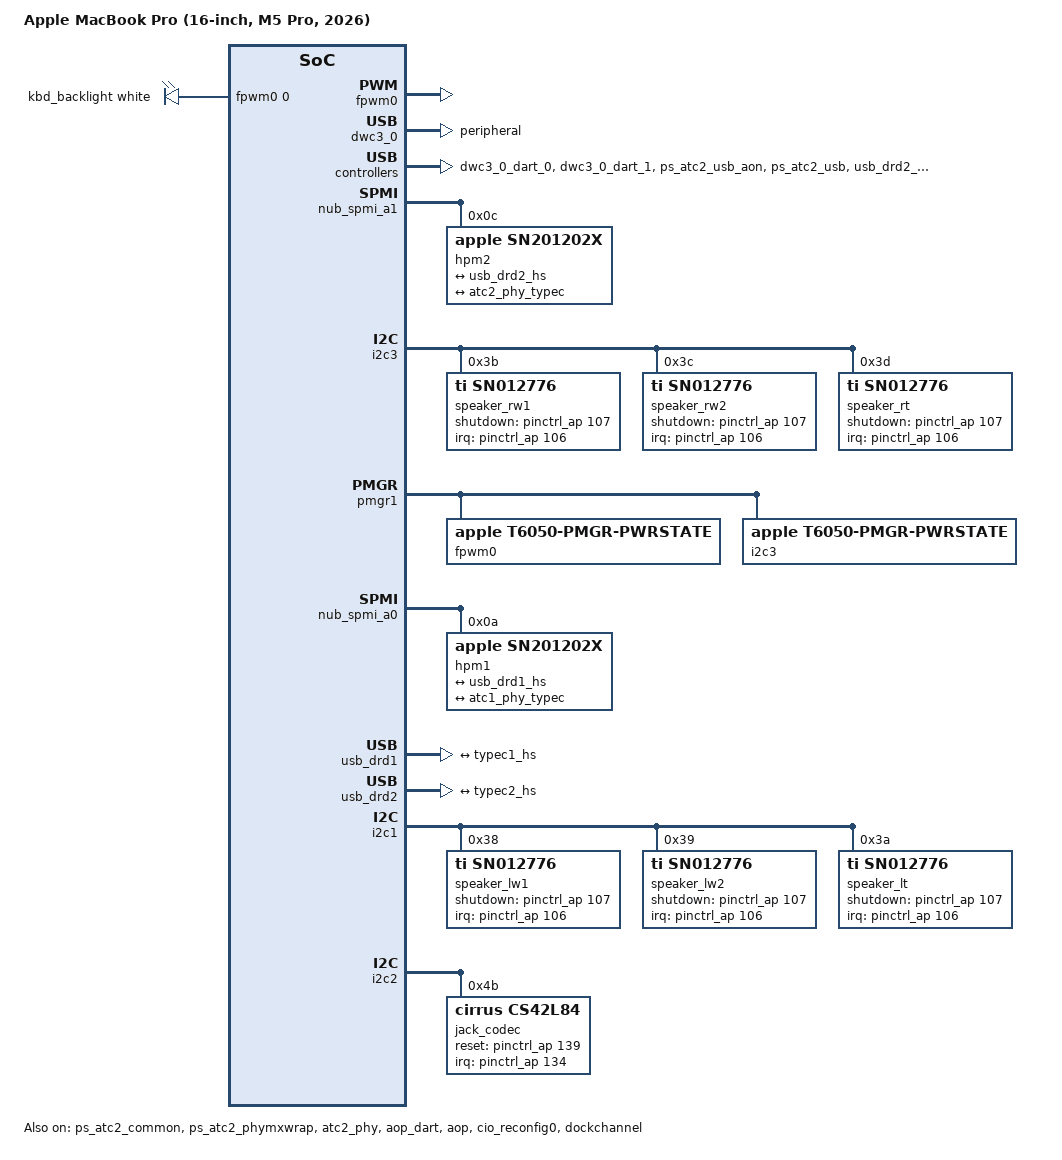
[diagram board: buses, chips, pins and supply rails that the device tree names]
// SPDX-License-Identifier: GPL-2.0+ OR MIT
/*
 * MacBook Pro (16-inch, M5 Pro, 2026)
 *
 * target-type: J716s (Mac17,8)
 *
 * One T6050 die. The runtime ADT lists all 18 CPUs (cpu0-17) in the order
 * t6050-max.dtsi uses, so its CPU list applies unchanged; the boot loader
 * removes any core it did not start. Like t6050-j716c.dts, this file only
 * enables and configures what has been brought up; the SoC's other blocks
 * stay disabled.
 *
 * Tags in the comments: [ADT] the J716s runtime ADT, [J716C] as
 * t6050-j716c.dts because the J716s ADT shows the same value, [OURS] the
 * m5pro-linux J716s tree, [INFER] inferred, not measured.
 *
 * Copyright The Asahi Linux Contributors
 */

/dts-v1/;

#include <dt-bindings/leds/common.h>
#include "t6050-max.dtsi"

/ {
	/* [ADT] /product sub-product-type "Mac17,8", product-name "MacBook Pro (16-inch, M5 Pro)" */
	compatible = "apple,j716s", "apple,t6050", "apple,arm-platform";
	model = "Apple MacBook Pro (16-inch, M5 Pro, 2026)";
	chassis-type = "laptop";

	aliases {
		serial0 = &dockchannel;			/* [J716C] */
		/* The loader fills the N1's factory addresses through these [J716C] */
		wifi0 = &n1_alpha;
		bluetooth0 = &n1_beta;
		/* m1n1 dt_set_ipd() fills the layout from the ADT keyboard node [OURS t6050-j716s.dts:21-25] */
		keyboard = &keyboard;
	};

	chosen {
		#address-cells = <2>;
		#size-cells = <2>;
		ranges;
		/* Normally replaced by the loader */
		bootargs = "maxcpus=1";

		framebuffer0: framebuffer@0 {
			compatible = "apple,simple-framebuffer", "simple-framebuffer";
			reg = <0 0 0 0>; /* To be filled by the loader */
			/* Format properties will be added by the loader */
			/* simpledrm reports an eDP connector for the built-in panel */
			apple,internal-panel;
			status = "disabled";
		};
	};

	/*
	 * Keyboard backlight. [ADT] /arm-io/pwm0/kbd-backlight: channel 0,
	 * default-hz 25000 -> period 40000 ns. [OURS t6050-j716s.dts:35-46]
	 */
	led-controller {
		compatible = "pwm-leds";

		led-0 {
			pwms = <&fpwm0 0 40000>;
			label = "kbd_backlight";
			function = LED_FUNCTION_KBD_BACKLIGHT;
			color = <LED_COLOR_ID_WHITE>;
			max-brightness = <255>;
			default-state = "keep";
		};
	};

	/*
	 * The sound card: the headphone jack on AOP DAI 0 (cout), the six
	 * speaker amps on AOP DAI 4 (spkr) in [ADT] speakerN order: LW1, RW1,
	 * LW2, RW2, LT, RT (TDM slots 0-5). The idle masks keep each bus's
	 * three amps fed with zeros in the other bus's slots.
	 */
	sound {
		compatible = "apple,j716-macaudio", "apple,macaudio";
		model = "MacBook Pro J716";
		#address-cells = <1>;
		#size-cells = <0>;

		dai-link@0 {
			reg = <0>;
			link-name = "Headphone Jack";

			cpu {
				sound-dai = <&aop_audio 0>;
			};

			codec {
				sound-dai = <&jack_codec>;
			};
		};

		dai-link@1 {
			reg = <1>;
			link-name = "Speakers";
			dai-tdm-idle-mode-0 = "zero";
			dai-tdm-idle-mode-1 = "zero";
			dai-tdm-slot-tx-idle-mask-0 = <0xf0f0f0>;
			dai-tdm-slot-tx-idle-mask-1 = <0x0f0f0f>;

			cpu {
				sound-dai = <&aop_audio 4>;
			};

			codec {
				sound-dai = <&speaker_lw1>, <&speaker_rw1>,
					    <&speaker_lw2>, <&speaker_rw2>,
					    <&speaker_lt>, <&speaker_rt>;
			};
		};
	};
};

/*
 * Blocks t6050-die0.dtsi does not describe yet (candidates for that file):
 * the keyboard backlight PWM, the ATC0 gadget this board's tether runs on,
 * and the third HPM SPMI bus.
 */
&die0 {
	/* [ADT] /arm-io/pwm0 reg 0x505040000 +0x4000, clock-gate FPWM0 [OURS t6050.dtsi:303-315] */
	fpwm0: pwm@505040000 {
		compatible = "apple,t6050-fpwm", "apple,s5l-fpwm";
		reg = <0x5 0x05040000 0x0 0x4000>;
		power-domains = <&ps_fpwm0>;
		clocks = <&clkref>;
		#pwm-cells = <2>;
	};

	/*
	 * ATC0 (left-back, the MagSafe side; [ADT] usb-drd0 port-number 1, hpm0
	 * port-location "left-back"). The combo PHY driver refuses port 0, and this
	 * port carries the USB tether, so it stays a device-mode controller on the
	 * PHY state m1n1's usb_phy_bringup() leaves. [OURS t6050-storage-net.dtsi:50-88]
	 * [ADT] /arm-io/usb-drd0 reg[0] 0x2a2280000, interrupts[0] 1419;
	 * /arm-io/dart-usb0 reg[0] 0x2a2f00000, reg[1] 0x2a2f80000, interrupt 1423.
	 */
	dwc3_0: usb@2a2280000 {
		compatible = "snps,dwc3";
		reg = <0x2 0xa2280000 0x0 0xcd00>;
		interrupts = <AIC_IRQ 0 1419 IRQ_TYPE_LEVEL_HIGH>;
		dr_mode = "peripheral";
		maximum-speed = "high-speed";
		iommus = <&dwc3_0_dart_0 0>, <&dwc3_0_dart_1 1>;
		snps,usb2-gadget-lpm-disable;
		snps,dis_u2_susphy_quirk;
		snps,dis_u3_susphy_quirk;
		snps,dis_enblslpm_quirk;
	};

	dwc3_0_dart_0: iommu@2a2f00000 {
		compatible = "apple,t6050-dart", "apple,t8110-dart";
		reg = <0x2 0xa2f00000 0x0 0xc000>;
		interrupts = <AIC_IRQ 0 1423 IRQ_TYPE_LEVEL_HIGH>;
		#iommu-cells = <1>;
	};

	dwc3_0_dart_1: iommu@2a2f80000 {
		compatible = "apple,t6050-dart", "apple,t8110-dart";
		reg = <0x2 0xa2f80000 0x0 0xc000>;
		interrupts = <AIC_IRQ 0 1423 IRQ_TYPE_LEVEL_HIGH>;
		#iommu-cells = <1>;
	};

	/*
	 * [ADT] /arm-io/nub-spmi-a1: reg[0] 0x8a1a8000 (+0x200000000), gen 4, the
	 * HPM bus of the right-hand port (hpm2). J716c uses nub-spmi-a2 instead;
	 * this board has no a2. Polled, like a0: the gen 4 driver refuses an
	 * interrupt (the ADT lists AIC 763 for it, 761 for a0). No power-domains:
	 * [ADT] pmgr NUB_SPMI_A1 (group 2 +0x68) is critical, as NUB_SPMI_A0.
	 */
	nub_spmi_a1: spmi@28a1a8000 {
		compatible = "apple,t6050-spmi", "apple,t8142-spmi";
		reg = <0x2 0x8a1a8000 0x0 0x4000>;
		#address-cells = <2>;
		#size-cells = <0>;
	};
};

/* [ADT] pmgr device FPWM0, group 1 + 0x2a8 [OURS t6050-pmgr.dtsi:952-959]; parent SIO left undescribed as for ps_i2c1/2 */
&pmgr1 {
	ps_fpwm0: power-controller@2a8 {
		compatible = "apple,t6050-pmgr-pwrstate", "apple,t8103-pmgr-pwrstate";
		reg = <0x2a8 4>;
		#power-domain-cells = <0>;
		#reset-cells = <0>;
		label = "fpwm0";
	};
};

/*
 * PCIe port 0: the N1 (Wi-Fi and Bluetooth). Port 1 is the SD reader
 * ([ADT] apcie0/pci-bridge1/pcie-sdreader), not described. The loader must
 * train port 0 and then enable port00 and dart_apcie0; until it does, both
 * stay disabled. m1n1 does not do this today.
 * [ADT] /arm-io/apcie0 reg[0] 0x1cb0000000, reg[1] 0x414000000 (rc),
 * reg[16] 0x410028000 (port0), reg[18] 0x417010000 (phy0), reg[19]
 * 0x410024000 (intr2axi0), interrupts[0] 1523: identical to J716c.
 */
&pcie0 {
	reg = <0x1c 0xb0000000 0x0 0x10000000>,
	      <0x4 0x14000000 0x0 0x4000>,
	      <0x4 0x10028000 0x0 0x8000>,
	      <0x4 0x17010000 0x0 0x4000>,
	      <0x4 0x10024000 0x0 0x4000>;
	reg-names = "config", "rc", "port0", "phy0", "intr2axi0";
	interrupts = <AIC_IRQ 0 1523 IRQ_TYPE_LEVEL_HIGH>;
	interrupt-names = "port0";

	/* The N1's three functions are on DART streams 1-3 [J716C] */
	iommu-map = <0x100 &dart_apcie0 1 3>;
	bus-range = <0 4>;

	port00: pci@0,0 {
		device_type = "pci";
		reg = <0x0 0 0 0 0>;
		bus-range = <1 1>;
		apple,link-trained-by-bootloader;
		/* PERST#: [ADT] pci-bridge0 function-perst = GPIO 80 */
		reset-gpios = <&pinctrl_ap 80 GPIO_ACTIVE_LOW>;
		status = "disabled";

		#address-cells = <3>;
		#size-cells = <2>;
		ranges;

		interrupt-controller;
		#interrupt-cells = <1>;
		interrupt-map-mask = <0 0 0 7>;
		interrupt-map = <0 0 0 1 &port00 0 0 0 0>,
				<0 0 0 2 &port00 0 0 0 1>,
				<0 0 0 3 &port00 0 0 0 2>,
				<0 0 0 4 &port00 0 0 0 3>;

		/*
		 * platform ID = (board << 16) | chip: [ADT] /chosen board-id = 0x0c,
		 * chip 0x6050 (binding apple,centauri.yaml: chip in bits 15..0,
		 * board in 30..16). The FTAB is personalised for each unit; its name
		 * follows J716c's scheme [INFER].
		 */
		n1_control: control@0,0 {
			compatible = "pci106b,1900";
			reg = <0x10000 0x0 0x0 0x0 0x0>;
			firmware-name = "apple/centauri/j716s-ftab.bin";
			apple,centauri-platform-id = <0x000c6050>;
			apple,centauri-protocol = <27>;
		};

		/* [ADT] apcie0/pci-bridge0/centauri-alpha (fn 1) */
		n1_alpha: wifi@0,1 {
			compatible = "pci106b,1902";
			reg = <0x10100 0x0 0x0 0x0 0x0>;
			local-mac-address = [00 00 00 00 00 00];
		};

		/* [ADT] apcie0/pci-bridge0/centauri-beta (fn 2) */
		n1_beta: bluetooth@0,2 {
			compatible = "pci106b,1903";
			reg = <0x10200 0x0 0x0 0x0 0x0>;
			local-bd-address = [00 00 00 00 00 00];
		};
	};
};

/*
 * Type-C. [ADT] port map:
 *   ATC0 usb-drd0 port 1 left-back  hpm0 nub-spmi-a0 SID 0x0c  (tether, dwc3_0 above)
 *   ATC1 usb-drd1 port 2 left-front hpm1 nub-spmi-a0 SID 0x0a
 *   ATC2 usb-drd2 port 3 right      hpm2 nub-spmi-a1 SID 0x0c
 *   MagSafe                          hpm5 nub-spmi-a0 SID 0x08 (port-type 17, not a USB-C connector)
 * There is no usb-drd3 in this ADT, so ATC3's USB chain stays off.
 */
&atc3_phy_mbox {
	status = "disabled";
};

&atc3_phy {
	status = "disabled";
};

&usb_drd3 {
	status = "disabled";
};

&usb_drd3_dart_0 {
	status = "disabled";
};

&usb_drd3_dart_1 {
	status = "disabled";
};

&nub_spmi_a2 {
	status = "disabled";			/* [ADT] this board has no nub-spmi-a2 */
};

/*
 * Left-front port (ATC1): SN201202x hpm1, polled (no interrupts property),
 * the connector graph into dwc3 (USB2) and the combo PHY (SuperSpeed).
 * Node shape from t8142-j813-usb.dtsi. USB3 works on this port with the
 * PHY tunables the loader fills from the ADT (m1n1 kboot_atc).
 */
&nub_spmi_a0 {
	hpm1: usb-pd@a {
		compatible = "apple,sn201202x";
		reg = <0xa SPMI_USID>;			/* [ADT] hpm1 reg[0] = 0x0a */

		typec1: connector {
			compatible = "usb-c-connector";
			label = "USB-C Left-front";	/* [ADT] hpm1 port-location */
			power-role = "dual";
			data-role = "dual";

			ports {
				#address-cells = <1>;
				#size-cells = <0>;

				port@0 {
					reg = <0>;
					typec1_hs: endpoint {
						remote-endpoint = <&usb_drd1_hs>;
					};
				};

				port@1 {
					reg = <1>;
					typec1_ss: endpoint {
						remote-endpoint = <&atc1_phy_typec>;
					};
				};
			};
		};
	};
};

&usb_drd1 {
	port {
		usb_drd1_hs: endpoint {
			remote-endpoint = <&typec1_hs>;
		};
	};
};

&atc1_phy {
	port {
		atc1_phy_typec: endpoint {
			remote-endpoint = <&typec1_ss>;
		};
	};
};

/*
 * Right port (ATC2), the same chain as the left-front port: SN201202x hpm2
 * on nub_spmi_a1, polled; the connector graph into usb_drd2 (USB2) and the
 * combo PHY (SuperSpeed). [ADT] /arm-io/nub-spmi-a1/hpm2 reg[0] = 0x0c,
 * port-number 3, port-location "right", acio-parent acio2; atc-phy2 and
 * usb-drd2 port-number 3. Only the USB route: dcpext0's DisplayPort route
 * through ATC2 (atc2_xbar, the PHY's DP lane, the connector's DP port)
 * stays off, so the connector has no port@2.
 */
&nub_spmi_a1 {
	hpm2: usb-pd@c {
		compatible = "apple,sn201202x";
		reg = <0xc SPMI_USID>;			/* [ADT] hpm2 reg[0] = 0x0c */

		typec2: connector {
			compatible = "usb-c-connector";
			label = "USB-C Right";		/* [ADT] hpm2 port-location */
			power-role = "dual";
			data-role = "dual";

			ports {
				#address-cells = <1>;
				#size-cells = <0>;

				port@0 {
					reg = <0>;
					typec2_hs: endpoint {
						remote-endpoint = <&usb_drd2_hs>;
					};
				};

				port@1 {
					reg = <1>;
					typec2_ss: endpoint {
						remote-endpoint = <&atc2_phy_typec>;
					};
				};
			};
		};
	};
};

/*
 * [ADT] /arm-io/atc-phy2 reg[2] 0x183000000 (core), acio-phy-cpu2 reg[0]
 * 0x183148000 with interrupts 861-864, usb-drd2 interrupt 1483, dart-usb2
 * interrupt 1487 (arm-io ranges +0x200000000): what t6050-die0.dtsi
 * describes. Power: [ADT] pmgr ATC2_COMMON (group 0 +0x238, gate 61, parent
 * FAB5_SOC, critical), ATC2_USB_AON (group 2 +0x178, 266), ATC2_USB (+0x180,
 * 267, usb-drd2's gate) and ATC2_PHYMXWRAP (+0x188, 268), parents 61 and
 * 266, as ATC1's 56/263-265. The loader fills the PHY's tunables (it finds
 * the node by its core window) and parks the PIPE of every usb-drdN.
 */
&ps_atc2_common {
	status = "okay";
};

&ps_atc2_usb_aon {
	status = "okay";
};

&ps_atc2_phymxwrap {
	status = "okay";
};

&ps_atc2_usb {
	status = "okay";
};

&atc2_phy_mbox {
	status = "okay";
};

&atc2_phy {
	status = "okay";

	port {
		atc2_phy_typec: endpoint {
			remote-endpoint = <&typec2_ss>;
		};
	};
};

&usb_drd2 {
	status = "okay";

	port {
		usb_drd2_hs: endpoint {
			remote-endpoint = <&typec2_hs>;
		};
	};
};

&usb_drd2_dart_0 {
	status = "okay";
};

&usb_drd2_dart_1 {
	status = "okay";
};

/*
 * Audio. [ADT] six SN012776 amps (TAS2764 family) on i2c1 (left: woofers 1
 * and 2, tweeter) and i2c3 (right), the CS42L84 jack codec on i2c2, all
 * clocked by the AOP's serializer; the AOP runs the speaker and jack streams
 * and the microphone array. Node shapes follow edimoldovan's J714c tree
 * (linux-aurora t6050-j714c). i2c3, its power state, the AOP's setup port
 * and the LEAP-S ADMAC are not in t6050-die0.dtsi yet (candidates for it);
 * they are described here, as is everything this board enables.
 */
&die0 {
	/* [ADT] /arm-io/i2c3 reg 0x50501c000 (+0x4000), interrupt 1378 */
	i2c3: i2c@50501c000 {
		compatible = "apple,t6050-i2c", "apple,t8103-i2c";
		reg = <0x5 0x0501c000 0x0 0x4000>;
		clocks = <&clkref>;
		interrupt-parent = <&aic>;
		interrupts = <AIC_IRQ 0 1378 IRQ_TYPE_LEVEL_HIGH>;
		#address-cells = <1>;
		#size-cells = <0>;
		power-domains = <&ps_i2c3>;
	};

	/*
	 * The AOP's setup port, which its AFK endpoints answer only after:
	 * [ADT] /arm-io/aop-exclave-mailbox reg 0x2d067c000, interrupts 582
	 * (send-empty) and 585 (recv-not-empty), messages through dart-aop
	 * stream 1, whose window starts at 0x20000000000.
	 */
	aop_setup_mbox: mailbox@2d067c000 {
		compatible = "apple,t6050-aop-setup-mailbox",
			     "apple,t8140-aop-setup-mailbox";
		reg = <0x2 0xd067c000 0x0 0x4000>;
		interrupt-parent = <&aic>;
		interrupts = <AIC_IRQ 0 582 IRQ_TYPE_LEVEL_HIGH>,
			     <AIC_IRQ 0 585 IRQ_TYPE_LEVEL_HIGH>;
		interrupt-names = "send-empty", "recv-not-empty";
		iommus = <&aop_dart 1>;
		apple,dma-range = <0x200 0x0 0x10 0x0>;
		#mbox-cells = <0>;
	};

	/*
	 * The LEAP-S ADMAC through its non-secure proxy: [ADT]
	 * admac-hp-mic-ec-proxy reg 0x2d3200000, interrupt 638, 9 TX and 9 RX
	 * channels, dart-aop stream 11. The microphone array is on its RX 0.
	 */
	admac_leap_s: dma-controller@2d3200000 {
		compatible = "apple,t6050-admac", "apple,t8140-admac";
		reg = <0x2 0xd3200000 0x0 0x34000>;
		dma-channels = <9>;
		interrupts-extended = <&aic AIC_IRQ 0 638 IRQ_TYPE_LEVEL_HIGH>,
				      <0>, <0>, <0>;
		#dma-cells = <1>;
		iommus = <&aop_dart 11>;
		apple,dma-range = <0x110 0x00000000 0x0 0x10000000>;
	};
};

/* [ADT] pmgr device I2C3, group 1 + 0x2d8, after I2C1 (+0x2c8) and I2C2 (+0x2d0) */
&pmgr1 {
	ps_i2c3: power-controller@2d8 {
		compatible = "apple,t6050-pmgr-pwrstate", "apple,t8103-pmgr-pwrstate";
		reg = <0x2d8 4>;
		#power-domain-cells = <0>;
		#reset-cells = <0>;
		label = "i2c3";
	};
};

&aop_mbox {
	status = "okay";
};

/*
 * dart-aop: iBoot locks it with inherited roots; the T8142 compatible
 * selects apple-dart's per-stream retained-root path, as on the J714c.
 */
&aop_dart {
	compatible = "apple,t6050-dart", "apple,t8142-dart", "apple,t8110-dart";
	status = "okay";
};

&admac_base_ns {
	status = "okay";
};

&aop {
	mboxes = <&aop_mbox>, <&aop_setup_mbox>;
	mbox-names = "mbox", "setup";
	status = "okay";
};

/*
 * [ADT] iop-audio-controller: spkr on base-ns TX0 with the amps' V/I sense
 * on RX0, cout/cin (the jack) on TX2/RX2 (Linux channel 2N for TX N, 2N+1
 * for RX N), and the microphone array on LEAP-S RX0 (leap-s-adma-rx-0).
 */
&aop_audio {
	dmas = <&admac_base_ns 0>, <&admac_base_ns 1>,
	       <&admac_base_ns 4>, <&admac_base_ns 5>,
	       <&admac_leap_s 1>;
	dma-names = "spkr", "spkr-sense", "cout", "cin", "hpai";
	apple,chassis-name = "J716";
	apple,machine-kind = "MacBook Pro";
};

/*
 * The amps share one shutdown line (SDZ, [ADT] AP GPIO 107, active high) and
 * one level-low interrupt (AP GPIO 106). apple,speaker-config is [ADT]
 * speaker-config: TX slot, amp level, V sense slot, I sense slot; the amp
 * level is lowered from the ADT's 15 (18.5 dBV) to 10 (16 dBV), and macaudio
 * caps the speaker volume at -30 dB on top of that. apple,deferred-shutdown:
 * the AOP stops its serializer (pw0) only after ASoC has muted the amps, so
 * a muted amp then sees its clock stop; this marks that as expected.
 */
&i2c1 {
	status = "okay";

	speaker_lw1: codec@38 {
		compatible = "ti,sn012776", "ti,tas2764";
		reg = <0x38>;
		shutdown-gpios = <&pinctrl_ap 107 GPIO_ACTIVE_HIGH>;
		interrupts-extended = <&pinctrl_ap 106 IRQ_TYPE_LEVEL_LOW>;
		#sound-dai-cells = <0>;
		sound-name-prefix = "Left Woofer 1";
		ti,imon-slot-no = <0>;
		ti,vmon-slot-no = <2>;
		apple,speaker-config = [00 0a 00 02];
		apple,deferred-shutdown;
	};

	speaker_lw2: codec@39 {
		compatible = "ti,sn012776", "ti,tas2764";
		reg = <0x39>;
		shutdown-gpios = <&pinctrl_ap 107 GPIO_ACTIVE_HIGH>;
		interrupts-extended = <&pinctrl_ap 106 IRQ_TYPE_LEVEL_LOW>;
		#sound-dai-cells = <0>;
		sound-name-prefix = "Left Woofer 2";
		ti,imon-slot-no = <8>;
		ti,vmon-slot-no = <10>;
		apple,speaker-config = [02 0a 08 0a];
		apple,deferred-shutdown;
	};

	speaker_lt: codec@3a {
		compatible = "ti,sn012776", "ti,tas2764";
		reg = <0x3a>;
		shutdown-gpios = <&pinctrl_ap 107 GPIO_ACTIVE_HIGH>;
		interrupts-extended = <&pinctrl_ap 106 IRQ_TYPE_LEVEL_LOW>;
		#sound-dai-cells = <0>;
		sound-name-prefix = "Left Tweeter";
		ti,imon-slot-no = <16>;
		ti,vmon-slot-no = <18>;
		apple,speaker-config = [04 0a 10 12];
		apple,deferred-shutdown;
	};
};

/* The jack codec: reset [ADT] AP GPIO 139, interrupt AP GPIO 134 (level low) */
&i2c2 {
	status = "okay";

	jack_codec: codec@4b {
		compatible = "cirrus,cs42l84";
		reg = <0x4b>;
		reset-gpios = <&pinctrl_ap 139 GPIO_ACTIVE_HIGH>;
		interrupts-extended = <&pinctrl_ap 134 IRQ_TYPE_LEVEL_LOW>;
		#sound-dai-cells = <0>;
		sound-name-prefix = "Jack";
	};
};

&i2c3 {
	speaker_rw1: codec@3b {
		compatible = "ti,sn012776", "ti,tas2764";
		reg = <0x3b>;
		shutdown-gpios = <&pinctrl_ap 107 GPIO_ACTIVE_HIGH>;
		interrupts-extended = <&pinctrl_ap 106 IRQ_TYPE_LEVEL_LOW>;
		#sound-dai-cells = <0>;
		sound-name-prefix = "Right Woofer 1";
		ti,imon-slot-no = <4>;
		ti,vmon-slot-no = <6>;
		apple,speaker-config = [01 0a 04 06];
		apple,deferred-shutdown;
	};

	speaker_rw2: codec@3c {
		compatible = "ti,sn012776", "ti,tas2764";
		reg = <0x3c>;
		shutdown-gpios = <&pinctrl_ap 107 GPIO_ACTIVE_HIGH>;
		interrupts-extended = <&pinctrl_ap 106 IRQ_TYPE_LEVEL_LOW>;
		#sound-dai-cells = <0>;
		sound-name-prefix = "Right Woofer 2";
		ti,imon-slot-no = <12>;
		ti,vmon-slot-no = <14>;
		apple,speaker-config = [03 0a 0c 0e];
		apple,deferred-shutdown;
	};

	speaker_rt: codec@3d {
		compatible = "ti,sn012776", "ti,tas2764";
		reg = <0x3d>;
		shutdown-gpios = <&pinctrl_ap 107 GPIO_ACTIVE_HIGH>;
		interrupts-extended = <&pinctrl_ap 106 IRQ_TYPE_LEVEL_LOW>;
		#sound-dai-cells = <0>;
		sound-name-prefix = "Right Tweeter";
		ti,imon-slot-no = <20>;
		ti,vmon-slot-no = <22>;
		apple,speaker-config = [05 0a 14 16];
		apple,deferred-shutdown;
	};
};

/*
 * Pin 112 takes an SError when read (J716c finding, same SoC), so only the
 * pins named here are exposed: 80 (PCIe port 0's PERST#, [ADT] pci-bridge0
 * function-perst GPIO 80), 106 and 107 (the amps' interrupt and shutdown
 * line), 134 and 139 (the jack codec's interrupt and reset), the pattern of
 * t6050-j775d.dts.
 */
&pinctrl_ap {
	gpio-reserved-ranges = <0 80>, <81 25>, <108 26>, <135 4>, <140 81>;
};

/*
 * SMC sensors: the shared fan, power, voltage and current keys, and every
 * readable float T* key through t6050-die0.dtsi's apple,discover-temperatures
 * (labelled with the key name). Key set from the T6050 J714s SMC dump [OURS
 * smc-keys-j714s.json]: F0Ac/F1Ac, F0Mn/F0Mx/F0Tg and F1*, PSTR, PDTR, PMVR,
 * PHPC, VD0R, SBAV, ID0R present; a key this SMC lacks drops only that
 * channel (macsmc-hwmon skips it).
 *
 * Discovery refuses to run once any temperature channel exists, so the
 * shared temperature nodes go (their keys are discovered anyway: TH0x,
 * TB0T, TCHP, TW0P), and so does the die0 apple,soc-die-keys list, whose
 * "SoC die TCMb" channel would also count: with this driver the probe
 * fails with -EINVAL otherwise. TCMb stays as a discovered channel; only
 * the macsmc_soc_die thermal zone, which nothing in this DT uses, is lost.
 * Drop the /delete-property/ once the driver has Aurora's b7891bd5f621
 * ("hwmon: macsmc: Let discovered temperatures join the SoC die zone").
 */
#include "hwmon-common.dtsi"
#include "hwmon-fan-dual.dtsi"
#include "hwmon-laptop.dtsi"

&smc_hwmon {
	/delete-property/ apple,soc-die-keys;
	/delete-node/ temperature-TH0x;
	/delete-node/ temperature-TB0T;
	/delete-node/ temperature-TCHP;
	/delete-node/ temperature-TW0P;

	/*
	 * The T6050 SMC spells the fan mode keys F0md/F1md (ui8, flags 0xd0),
	 * not the F0Md/F1Md of hwmon-fan*.dtsi, as on the J775D. No
	 * apple,fan-manual-control: the SMC drives the fans and userspace only
	 * reads them (macsmc_hwmon.fan_control=1 opens fan*_target for tests).
	 */
	fan-F0Ac {
		apple,fan-mode = "F0md";
	};

	fan-F1Ac {
		apple,fan-mode = "F1md";
	};
};

/*
 * The clusters' DVFS blocks have the T8112 layout (status +0x50: current
 * p-state in bits 9:5, target in 4:0, measured on the J716s), which stock
 * apple-soc-cpufreq drives through the T8112 compatible. Kept to this board
 * until the T6050 entry of the j716c/t6050-platform branch is in.
 */
&cpufreq_mc0 {
	compatible = "apple,t6050-cluster-cpufreq", "apple,t8112-cluster-cpufreq";
};

&cpufreq_mc1 {
	compatible = "apple,t6050-cluster-cpufreq", "apple,t8112-cluster-cpufreq";
};

&cpufreq_pc {
	compatible = "apple,t6050-cluster-cpufreq", "apple,t8112-cluster-cpufreq";
};

/* The die's CIO reconfiguration register; no consumer is enabled yet */
&cio_reconfig0 {
	status = "okay";
};

/*
 * The console on the USB debug link drains only while a host reads it
 * [J716C]. On this board the tether is ATC0's gadget; keep earlycon=efifb.
 */
&dockchannel {
	apple,tx-never-wait;
	status = "okay";
};

/*
 * Keyboard and trackpad: the HID transport on the MTP's DockChannel FIFO
 * [J716C], with MTP firmware AppleMTPFirmwareMac-6320.86.1.
 */
&mtp_dockchannel {
	mtp_hid: input@8000 {
		compatible = "apple,dockchannel-hid";
		reg = <0x8000 0x1000>, <0xc000 0x1000>,
		      <0x0 0x1000>, <0x4000 0x1000>;
		reg-names = "config", "data", "rmt-config", "rmt-data";
		iommus = <&mtp_dart 0>;
		interrupt-parent = <&mtp_dockchannel>;
		interrupts = <2 IRQ_TYPE_LEVEL_HIGH>,
			     <3 IRQ_TYPE_LEVEL_HIGH>;
		interrupt-names = "tx", "rx";
		apple,fifo-size = <0x800>;		/* [ADT] dockchannel-mtp fifo-size 2048 [OURS] */
		apple,helper-cpu = <&mtp>;
		/*
		 * The AFE reset: [ADT] multi-touch function-afe-reset is the SMC pcIO
		 * output (0x10000, 0x11c0000), as on J716c, but this tree has no
		 * apple,smc-pcio-gpio driver. The same line is SMC GPIO gp1c, active
		 * low, which gpio-macsmc drives ("Touch MT ready" on 3 of 3 boots).
		 */
		apple,afe-reset-gpios = <&smc_gpio_low 28 GPIO_ACTIVE_LOW>;

		multi-touch {
			apple,power-method = <2>;	/* [OURS] 6320.x accepts only method 2 */
			firmware-name = "apple/tpmtfw-j716s.bin";	/* [OURS t6050-j716s.dts:79] */
		};

		keyboard: keyboard {
			hid-country-code = <0>;		/* filled by m1n1 [OURS] */
			apple,keyboard-layout-id = <0>;
		};

		stm {
		};

		/* [ADT] mtp-transport children actuator and tp-accel; optional */
		actuator {
		};

		tp-accel {
		};
	};
};

/*
 * No driver here handles the SMC pcIO outputs (apple,smc-pcio-gpio), and the
 * AFE reset above uses gp1c instead, so the node goes. Its J716s templates
 * [ADT], pKW8('pcIO', lo, hi) as (hi << 32) | lo, are identical to J716c's:
 *   0 dp2hdmi-gpio0 dp2hdmi_pwr_en (0x0, 0x1a0000)
 *   1 dp2hdmi-gpio0 hdmi_pwr_en    (0x800000, 0xf0000)
 *   2 multi-touch   afe-reset      (0x10000, 0x11c0000)
 */
/delete-node/ &smc_pcio;
